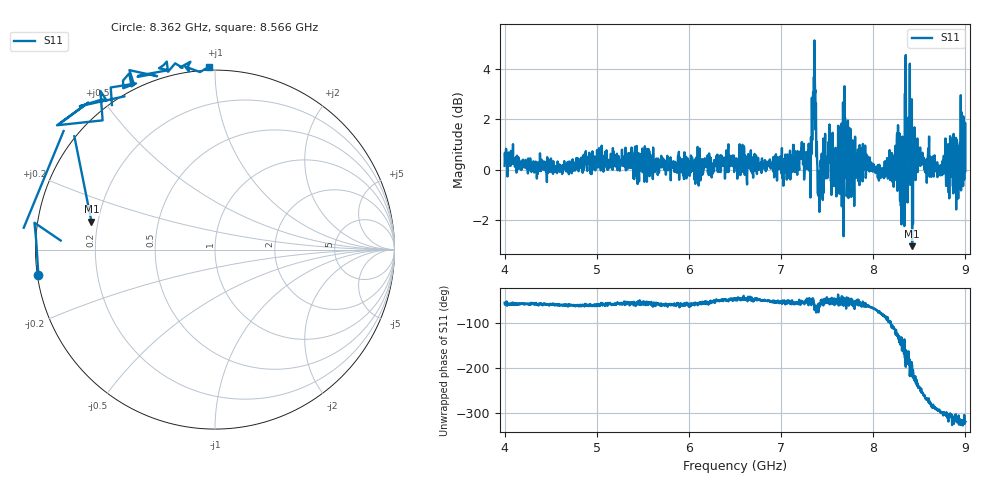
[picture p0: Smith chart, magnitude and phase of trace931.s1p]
! Created with skrf 1.8.0 (http://scikit-rf.org).
# Hz S RI R 50.0
!freq ReS11 ImS11
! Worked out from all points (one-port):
!   1601 points, 4 GHz to 9 GHz, reference 50 ohm
!   lowest |S11| = -3.0 dB at 8.422 GHz (marker M1), VSWR 5.79, Z = 8.74 + j5.42 ohm
!   |S11| at or under -10 dB: nowhere
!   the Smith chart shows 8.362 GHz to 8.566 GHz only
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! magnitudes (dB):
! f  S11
! 4 GHz  0.2
! 4.625 GHz  -0.2
! 5.25 GHz  0.0
! 5.875 GHz  0.1
! 6.5 GHz  0.4
! 7.125 GHz  0.1
! 7.306 GHz  0.0
! 7.356 GHz  3.7
! 7.369 GHz  3.1
! 7.4 GHz  -0.9
! 7.422 GHz  -0.7
! 7.503 GHz  0.3
! 7.609 GHz  0.3
! 7.669 GHz  0.6
! 7.75 GHz  0.2
! 7.891 GHz  0.3
! 8.097 GHz  0.1
! 8.262 GHz  -0.8
! 8.316 GHz  1.3
! 8.331 GHz  -1.5
! 8.347 GHz  0.7
! 8.375 GHz  1.9
! 8.381 GHz  1.4
! 8.394 GHz  1.6
! 8.422 GHz  -3.0
! 8.722 GHz  0.1
! 8.972 GHz  0.2
! 9 GHz  -0.1
